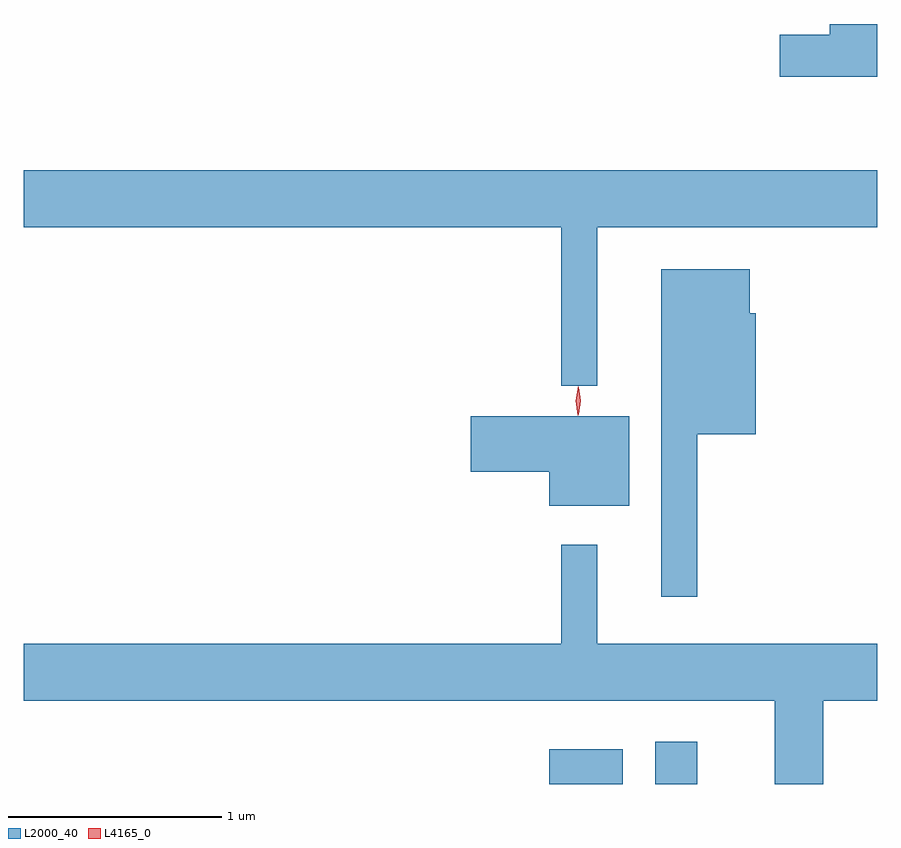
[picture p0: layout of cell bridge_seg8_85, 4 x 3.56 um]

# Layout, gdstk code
import gdstk
lib = gdstk.Library(unit=1e-6, precision=1e-09)
def R(c, l, rs):  # rectangles x0, y0, x1, y1
    for r in rs: c.add(gdstk.rectangle(r[:2], r[2:], *l))
def P(c, l, *ps):  # polygons
    for p in ps: c.add(gdstk.Polygon(p, *l))
L2000_40 = (2000, 40)
L4165_0 = (4165, 0)

bridge_seg8_85 = lib.new_cell('bridge_seg8_85')
R(bridge_seg8_85, L2000_40, [(1607.236,1853.786,1607.579,1853.949), (1607.731,1853.786,1607.929,1853.984)])
P(bridge_seg8_85, L2000_40, [(1608.772,1857.349),(1608.551,1857.349),(1608.551,1857.299),(1608.316,1857.299),(1608.316,1857.101),(1608.772,1857.101)],
  [(1607.459,1856.396),(1608.772,1856.396),(1608.772,1856.664),(1604.772,1856.664),(1604.772,1856.396),(1607.291,1856.396),(1607.291,1855.653),(1607.459,1855.653)],
  [(1607.929,1855.426),(1608.204,1855.426),(1608.204,1855.994),(1608.174,1855.994),(1608.174,1856.199),(1607.761,1856.199),(1607.761,1854.663),(1607.929,1854.663)],
  [(1607.609,1855.509),(1606.866,1855.509),(1606.866,1855.251),(1607.236,1855.251),(1607.236,1855.091),(1607.609,1855.091)],
  [(1608.519,1854.176),(1608.772,1854.176),(1608.772,1854.444),(1607.459,1854.444),(1607.459,1854.908),(1607.291,1854.908),(1607.291,1854.444),(1604.772,1854.444),(1604.772,1854.176),(1608.291,1854.176),(1608.291,1853.786),(1608.519,1853.786)])
P(bridge_seg8_85, L4165_0, [(1607.372,1855.52),(1607.363,1855.583),(1607.372,1855.646),(1607.373,1855.647),(1607.373,1855.646),(1607.383,1855.583),(1607.373,1855.52),(1607.373,1855.52)],
  [(1607.369,1855.514),(1607.369,1855.514),(1607.36,1855.582),(1607.37,1855.65),(1607.371,1855.65),(1607.371,1855.65),(1607.38,1855.582),(1607.37,1855.514)])

lib.write_gds('bridge_seg8_85.gds')
